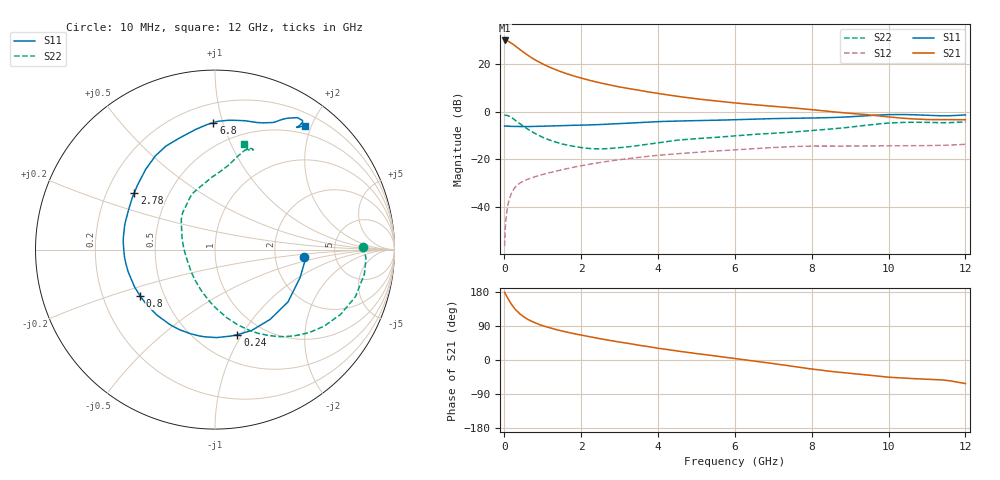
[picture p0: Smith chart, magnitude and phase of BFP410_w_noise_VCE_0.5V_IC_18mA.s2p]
! Infineon Technologies  Discrete & RF Semiconductors
! BFP410
! VCE =  0.5 V,  IC =  18 mA
! Common Emitter S-Parameters:  Nov 2015
# GHz  S  MA  R  50
!  f  S11  S21  S12  S22
! GHz  MAG  ANG  MAG  ANG  MAG  ANG  MAG  ANG
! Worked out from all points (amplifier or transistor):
!   243 points, 10 MHz to 12 GHz, reference 50 ohm
!   highest |S21| = 29.9 dB at 20 MHz (marker M1)
!   |S21| within 3 dB of that: start of sweep to 342.5 MHz
!   unconditionally stable (mu >= 1): start of sweep to 27.34 MHz; 1.423 GHz to end of sweep
!   at 240 MHz: K = 0.36, MSG = 30.4 dB, |S12| = -32.7 dB
!   at 1.84 GHz: K = 1.10, MAG = 17.1 dB, |S12| = -23.2 dB
!   at 12 GHz: K = 1.00, MAG = 5.0 dB, |S12| = -13.7 dB
!   lowest NFmin = 1.63 dB at 900 MHz
!   S11 on the Smith chart (normalised r, x): 10 MHz: 2.95, -0.31; 240 MHz: 0.77, -0.96; 800 MHz: 0.37, -0.25; 2.78 GHz: 0.32, +0.29; 6.8 GHz: 0.33, +0.93; 12 GHz: 0.37, +1.90
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0.01  0.498 -4.6  29.51 178.9  0.0015 118.1  0.8229 1.2
0.02  0.5046 -7.5  31.25 176.1  0.0026 92.7  0.8428 -3.2
0.1  0.5004 -35.6  30.2 161.5  0.0114 77.1  0.8256 -18.5
0.15  0.4955 -51.6  28.58 152.7  0.0162 71.4  0.7874 -27.3
0.2  0.4945 -65.4  27.01 145.2  0.0203 66.4  0.7436 -34.9
0.24  0.4902 -75.2  25.56 139.8  0.0231 63.0  0.7059 -40.3
0.3  0.4902 -88.9  23.5 132.3  0.0267 58.8  0.6489 -47.9
0.36  0.4891 -99.9  21.58 126.2  0.0296 55.6  0.5972 -54.2
0.5  0.4877 -120.7  17.69 114.5  0.0349 50.8  0.4932 -66.5
0.6  0.4877 -131.5  15.53 107.9  0.0378 48.9  0.435 -73.5
0.8  0.4906 -148.3  12.25 98.1  0.0431 46.9  0.3488 -85.3
1  0.4951 -160.7  10.03 90.5  0.0479 46.1  0.2901 -95.9
1.2  0.5024 -170.3  8.443 84.2  0.0528 45.6  0.2504 -105.8
1.6  0.5132 175.3  6.353 74.2  0.0628 44.8  0.2019 -123.7
2.02  0.5223 163.2  5.021 65.3  0.0738 42.9  0.1754 -141.5
2.78  0.55 144.8  3.587 51.1  0.0927 37.9  0.1695 -175.8
4.1  0.6219 121.1  2.346 29.7  0.1231 26.7  0.2273 145.4
6.1  0.6819 97.9  1.499 2.6  0.1599 9.5  0.316 117.1
6.8  0.7075 90.7  1.336 -6.7  0.1726 2.9  0.3443 108.6
8.2  0.7409 74.2  1.062 -26.2  0.1891 -12.9  0.4133 90.3
10.2  0.8677 57.0  0.75 -46.6  0.1913 -28.1  0.5862 72.2
12  0.8529 54.1  0.677 -62.2  0.2063 -41.4  0.6112 74.5
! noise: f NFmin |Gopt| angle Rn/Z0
0.45  1.66  0.11  -153  0.17
0.9  1.63  0.12  -155  0.16
1.8  1.76  0.16  -140  0.17
2.4  1.75  0.21  -123  0.24
5.5  2.63  0.42  -104  0.39
10  3.74  0.69  -46  2.37
